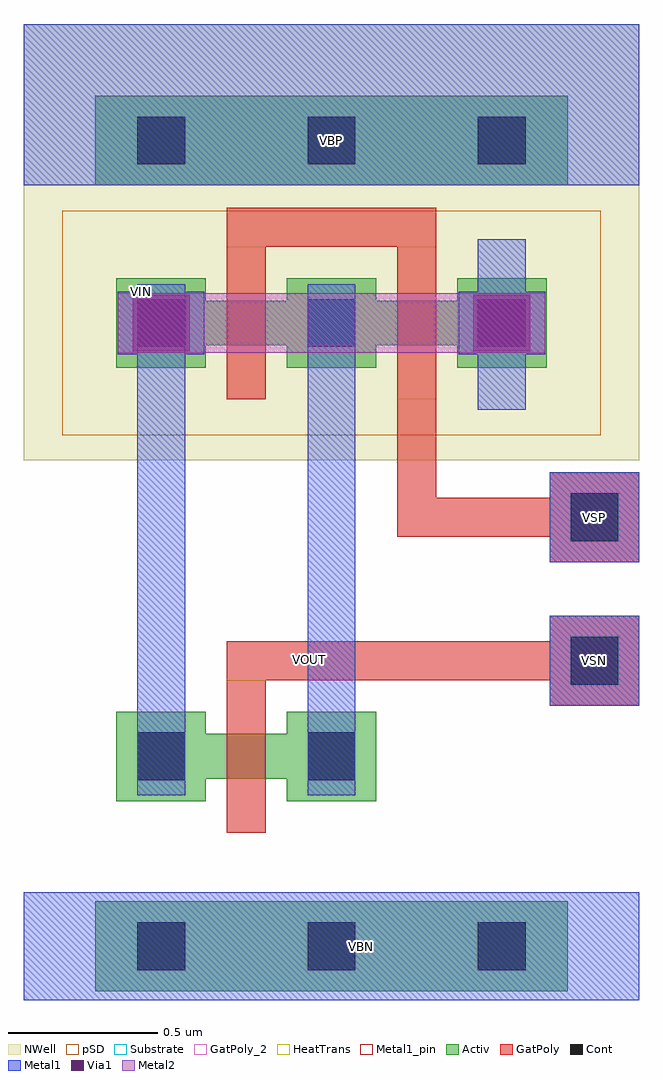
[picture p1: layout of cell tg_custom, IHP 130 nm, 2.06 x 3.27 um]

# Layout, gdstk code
import gdstk
lib = gdstk.Library(unit=1e-6, precision=5e-09)
def R(c, l, rs):  # rectangles x0, y0, x1, y1
    for r in rs: c.add(gdstk.rectangle(r[:2], r[2:], *l))
def A(c, l, x, y, w, h, nx, ny, dx, dy):  # array of equal rectangles
    R(c, l, [(x+i*dx, y+j*dy, x+i*dx+w, y+j*dy+h) for i in range(nx) for j in range(ny)])
Activ = (1, 0)
GatPoly = (5, 0)
GatPoly_2 = (5, 2)
Cont = (6, 0)
Metal1 = (8, 0)
Metal1_pin = (8, 2)
Metal2 = (10, 0)
pSD = (14, 0)
Via1 = (19, 0)
NWell = (31, 0)
Substrate = (40, 0)
HeatTrans = (51, 0)

pmos_1_16 = lib.new_cell('pmos$1$16')
A(pmos_1_16, Activ, 0, 0, 0.3, 0.3, 3, 1, 0.57, 0)
R(pmos_1_16, Activ, [(0,0.075,1.44,0.225)])
R(pmos_1_16, GatPoly, [(0.37,-0.105,0.5,0.405), (0.37,-0.105,0.5,0.405), (0.94,-0.105,1.07,0.405)])
A(pmos_1_16, Cont, 0.07, 0.07, 0.16, 0.16, 3, 1, 0.57, 0)
R(pmos_1_16, Metal1, [(0.07,0.02,0.23,0.28), (0.07,0.02,0.23,0.28), (0.64,0.02,0.8,0.28), (0.64,0.02,0.8,0.28), (1.21,0.02,1.37,0.28)])
R(pmos_1_16, pSD, [(-0.18,-0.225,1.62,0.525)])
R(pmos_1_16, NWell, [(-0.31,-0.31,1.75,0.61)])
R(pmos_1_16, Substrate, [(1.14,0,1.44,0.3)])
R(pmos_1_16, HeatTrans, [(0.37,-0.105,0.5,0.405), (0.94,-0.105,1.07,0.405)])
pmos_1_16.add(gdstk.Label('pmos', (0.435,0.15), layer=63, texttype=0))
pmos_1_16.add(gdstk.Label('pmos', (0.435,0.15), layer=51, texttype=0))
pmos_1_16.add(gdstk.Label('pmos', (1.005,0.15), layer=51, texttype=0))

pmos_8 = lib.new_cell('pmos$8')
A(pmos_8, Activ, 0, 0, 0.3, 0.3, 3, 1, 0.57, 0)
R(pmos_8, Activ, [(0,0.075,1.44,0.225)])
R(pmos_8, GatPoly, [(0.37,-0.105,0.5,0.405), (0.37,-0.105,0.5,0.405), (0.94,-0.105,1.07,0.405)])
A(pmos_8, Cont, 0.07, 0.07, 0.16, 0.16, 3, 1, 0.57, 0)
R(pmos_8, Metal1, [(0.07,0.02,0.23,0.28), (0.07,0.02,0.23,0.28), (0.64,0.02,0.8,0.28), (0.64,0.02,0.8,0.28), (1.21,0.02,1.37,0.28)])
R(pmos_8, pSD, [(-0.18,-0.225,1.62,0.525)])
R(pmos_8, NWell, [(-0.31,-0.31,1.75,0.61)])
R(pmos_8, Substrate, [(1.14,0,1.44,0.3)])
R(pmos_8, HeatTrans, [(0.37,-0.105,0.5,0.405), (0.94,-0.105,1.07,0.405)])
pmos_8.add(gdstk.Label('pmos', (0.435,0.15), layer=63, texttype=0))
pmos_8.add(gdstk.Label('pmos', (0.435,0.15), layer=51, texttype=0))
pmos_8.add(gdstk.Label('pmos', (1.005,0.15), layer=51, texttype=0))

pmos_1_3_4 = lib.new_cell('pmos$1$3$4')
A(pmos_1_3_4, Activ, 0, 0, 0.3, 0.3, 3, 1, 0.57, 0)
R(pmos_1_3_4, Activ, [(0,0.075,1.44,0.225)])
R(pmos_1_3_4, GatPoly, [(0.37,-0.105,0.5,0.405), (0.37,-0.105,0.5,0.405), (0.94,-0.105,1.07,0.405)])
A(pmos_1_3_4, Cont, 0.07, 0.07, 0.16, 0.16, 3, 1, 0.57, 0)
R(pmos_1_3_4, Metal1, [(0.07,0.02,0.23,0.28), (0.07,0.02,0.23,0.28), (0.64,0.02,0.8,0.28), (0.64,0.02,0.8,0.28), (1.21,0.02,1.37,0.28)])
R(pmos_1_3_4, pSD, [(-0.18,-0.225,1.62,0.525)])
R(pmos_1_3_4, NWell, [(-0.31,-0.31,1.75,0.61)])
R(pmos_1_3_4, Substrate, [(1.14,0,1.44,0.3)])
R(pmos_1_3_4, HeatTrans, [(0.37,-0.105,0.5,0.405), (0.94,-0.105,1.07,0.405)])
pmos_1_3_4.add(gdstk.Label('pmos', (0.435,0.15), layer=63, texttype=0))
pmos_1_3_4.add(gdstk.Label('pmos', (0.435,0.15), layer=51, texttype=0))
pmos_1_3_4.add(gdstk.Label('pmos', (1.005,0.15), layer=51, texttype=0))

pmos_4_1 = lib.new_cell('pmos$4$1')
A(pmos_4_1, Activ, 0, 0, 0.3, 0.3, 3, 1, 0.57, 0)
R(pmos_4_1, Activ, [(0,0.075,1.44,0.225)])
R(pmos_4_1, GatPoly, [(0.37,-0.105,0.5,0.405), (0.37,-0.105,0.5,0.405), (0.94,-0.105,1.07,0.405)])
A(pmos_4_1, Cont, 0.07, 0.07, 0.16, 0.16, 3, 1, 0.57, 0)
R(pmos_4_1, Metal1, [(0.07,0.02,0.23,0.28), (0.07,0.02,0.23,0.28), (0.64,0.02,0.8,0.28), (0.64,0.02,0.8,0.28), (1.21,0.02,1.37,0.28)])
R(pmos_4_1, pSD, [(-0.18,-0.225,1.62,0.525)])
R(pmos_4_1, NWell, [(-0.31,-0.31,1.75,0.61)])
R(pmos_4_1, Substrate, [(1.14,0,1.44,0.3)])
R(pmos_4_1, HeatTrans, [(0.37,-0.105,0.5,0.405), (0.94,-0.105,1.07,0.405)])
pmos_4_1.add(gdstk.Label('pmos', (0.435,0.15), layer=63, texttype=0))
pmos_4_1.add(gdstk.Label('pmos', (0.435,0.15), layer=51, texttype=0))
pmos_4_1.add(gdstk.Label('pmos', (1.005,0.15), layer=51, texttype=0))

pmos_1_11 = lib.new_cell('pmos$1$11')
A(pmos_1_11, Activ, 0, 0, 0.3, 0.3, 3, 1, 0.57, 0)
R(pmos_1_11, Activ, [(0,0.075,1.44,0.225)])
R(pmos_1_11, GatPoly, [(0.37,-0.105,0.5,0.405), (0.37,-0.105,0.5,0.405), (0.94,-0.105,1.07,0.405)])
A(pmos_1_11, Cont, 0.07, 0.07, 0.16, 0.16, 3, 1, 0.57, 0)
R(pmos_1_11, Metal1, [(0.07,0.02,0.23,0.28), (0.07,0.02,0.23,0.28), (0.64,0.02,0.8,0.28), (0.64,0.02,0.8,0.28), (1.21,0.02,1.37,0.28)])
R(pmos_1_11, pSD, [(-0.18,-0.225,1.62,0.525)])
R(pmos_1_11, NWell, [(-0.31,-0.31,1.75,0.61)])
R(pmos_1_11, Substrate, [(1.14,0,1.44,0.3)])
R(pmos_1_11, HeatTrans, [(0.37,-0.105,0.5,0.405), (0.94,-0.105,1.07,0.405)])
pmos_1_11.add(gdstk.Label('pmos', (0.435,0.15), layer=63, texttype=0))
pmos_1_11.add(gdstk.Label('pmos', (0.435,0.15), layer=51, texttype=0))
pmos_1_11.add(gdstk.Label('pmos', (1.005,0.15), layer=51, texttype=0))

pmos_7 = lib.new_cell('pmos$7')
A(pmos_7, Activ, 0, 0, 0.3, 0.3, 3, 1, 0.57, 0)
R(pmos_7, Activ, [(0,0.075,1.44,0.225)])
R(pmos_7, GatPoly, [(0.37,-0.105,0.5,0.405), (0.37,-0.105,0.5,0.405), (0.94,-0.105,1.07,0.405)])
A(pmos_7, Cont, 0.07, 0.07, 0.16, 0.16, 3, 1, 0.57, 0)
R(pmos_7, Metal1, [(0.07,0.02,0.23,0.28), (0.07,0.02,0.23,0.28), (0.64,0.02,0.8,0.28), (0.64,0.02,0.8,0.28), (1.21,0.02,1.37,0.28)])
R(pmos_7, pSD, [(-0.18,-0.225,1.62,0.525)])
R(pmos_7, NWell, [(-0.31,-0.31,1.75,0.61)])
R(pmos_7, Substrate, [(1.14,0,1.44,0.3)])
R(pmos_7, HeatTrans, [(0.37,-0.105,0.5,0.405), (0.94,-0.105,1.07,0.405)])
pmos_7.add(gdstk.Label('pmos', (0.435,0.15), layer=63, texttype=0))
pmos_7.add(gdstk.Label('pmos', (0.435,0.15), layer=51, texttype=0))
pmos_7.add(gdstk.Label('pmos', (1.005,0.15), layer=51, texttype=0))

pmos_1_3 = lib.new_cell('pmos$1$3')
A(pmos_1_3, Activ, 0, 0, 0.3, 0.3, 3, 1, 0.57, 0)
R(pmos_1_3, Activ, [(0,0.075,1.44,0.225)])
R(pmos_1_3, GatPoly, [(0.37,-0.105,0.5,0.405), (0.37,-0.105,0.5,0.405), (0.94,-0.105,1.07,0.405)])
A(pmos_1_3, Cont, 0.07, 0.07, 0.16, 0.16, 3, 1, 0.57, 0)
R(pmos_1_3, Metal1, [(0.07,0.02,0.23,0.28), (0.07,0.02,0.23,0.28), (0.64,0.02,0.8,0.28), (0.64,0.02,0.8,0.28), (1.21,0.02,1.37,0.28)])
R(pmos_1_3, pSD, [(-0.18,-0.225,1.62,0.525)])
R(pmos_1_3, NWell, [(-0.31,-0.31,1.75,0.61)])
R(pmos_1_3, Substrate, [(1.14,0,1.44,0.3)])
R(pmos_1_3, HeatTrans, [(0.37,-0.105,0.5,0.405), (0.94,-0.105,1.07,0.405)])
pmos_1_3.add(gdstk.Label('pmos', (0.435,0.15), layer=63, texttype=0))
pmos_1_3.add(gdstk.Label('pmos', (0.435,0.15), layer=51, texttype=0))
pmos_1_3.add(gdstk.Label('pmos', (1.005,0.15), layer=51, texttype=0))

pmos_4 = lib.new_cell('pmos$4')
A(pmos_4, Activ, 0, 0, 0.3, 0.3, 3, 1, 0.57, 0)
R(pmos_4, Activ, [(0,0.075,1.44,0.225)])
R(pmos_4, GatPoly, [(0.37,-0.105,0.5,0.405), (0.37,-0.105,0.5,0.405), (0.94,-0.105,1.07,0.405)])
A(pmos_4, Cont, 0.07, 0.07, 0.16, 0.16, 3, 1, 0.57, 0)
R(pmos_4, Metal1, [(0.07,0.02,0.23,0.28), (0.07,0.02,0.23,0.28), (0.64,0.02,0.8,0.28), (0.64,0.02,0.8,0.28), (1.21,0.02,1.37,0.28)])
R(pmos_4, pSD, [(-0.18,-0.225,1.62,0.525)])
R(pmos_4, NWell, [(-0.31,-0.31,1.75,0.61)])
R(pmos_4, Substrate, [(1.14,0,1.44,0.3)])
R(pmos_4, HeatTrans, [(0.37,-0.105,0.5,0.405), (0.94,-0.105,1.07,0.405)])
pmos_4.add(gdstk.Label('pmos', (0.435,0.15), layer=63, texttype=0))
pmos_4.add(gdstk.Label('pmos', (0.435,0.15), layer=51, texttype=0))
pmos_4.add(gdstk.Label('pmos', (1.005,0.15), layer=51, texttype=0))

pmos_1 = lib.new_cell('pmos$1')
A(pmos_1, Activ, 0, 0, 0.3, 0.3, 3, 1, 0.57, 0)
R(pmos_1, Activ, [(0,0.075,1.44,0.225)])
R(pmos_1, GatPoly, [(0.37,-0.105,0.5,0.405), (0.37,-0.105,0.5,0.405), (0.94,-0.105,1.07,0.405)])
A(pmos_1, Cont, 0.07, 0.07, 0.16, 0.16, 3, 1, 0.57, 0)
R(pmos_1, Metal1, [(0.07,0.02,0.23,0.28), (0.07,0.02,0.23,0.28), (0.64,0.02,0.8,0.28), (0.64,0.02,0.8,0.28), (1.21,0.02,1.37,0.28)])
R(pmos_1, pSD, [(-0.18,-0.225,1.62,0.525)])
R(pmos_1, NWell, [(-0.31,-0.31,1.75,0.61)])
R(pmos_1, Substrate, [(1.14,0,1.44,0.3)])
R(pmos_1, HeatTrans, [(0.37,-0.105,0.5,0.405), (0.94,-0.105,1.07,0.405)])
pmos_1.add(gdstk.Label('pmos', (0.435,0.15), layer=63, texttype=0))
pmos_1.add(gdstk.Label('pmos', (0.435,0.15), layer=51, texttype=0))
pmos_1.add(gdstk.Label('pmos', (1.005,0.15), layer=51, texttype=0))

pmos = lib.new_cell('pmos')
A(pmos, Activ, 0, 0, 0.3, 0.3, 3, 1, 0.57, 0)
R(pmos, Activ, [(0,0.075,1.44,0.225)])
R(pmos, GatPoly, [(0.37,-0.105,0.5,0.405), (0.37,-0.105,0.5,0.405), (0.94,-0.105,1.07,0.405)])
A(pmos, Cont, 0.07, 0.07, 0.16, 0.16, 3, 1, 0.57, 0)
R(pmos, Metal1, [(0.07,0.02,0.23,0.28), (0.07,0.02,0.23,0.28), (0.64,0.02,0.8,0.28), (0.64,0.02,0.8,0.28), (1.21,0.02,1.37,0.28)])
R(pmos, pSD, [(-0.18,-0.225,1.62,0.525)])
R(pmos, NWell, [(-0.31,-0.31,1.75,0.61)])
R(pmos, Substrate, [(1.14,0,1.44,0.3)])
R(pmos, HeatTrans, [(0.37,-0.105,0.5,0.405), (0.94,-0.105,1.07,0.405)])
pmos.add(gdstk.Label('pmos', (0.435,0.15), layer=63, texttype=0))
pmos.add(gdstk.Label('pmos', (0.435,0.15), layer=51, texttype=0))
pmos.add(gdstk.Label('pmos', (1.005,0.15), layer=51, texttype=0))

nmos_1_10 = lib.new_cell('nmos$1$10')
R(nmos_1_10, Activ, [(0,0,0.3,0.3), (0.57,0,0.87,0.3), (0,0.075,0.87,0.225)])
R(nmos_1_10, GatPoly, [(0.37,-0.105,0.5,0.405)])
R(nmos_1_10, GatPoly_2, [(0.37,-0.105,0.5,0.405)])
R(nmos_1_10, Cont, [(0.07,0.07,0.23,0.23), (0.64,0.07,0.8,0.23)])
R(nmos_1_10, Metal1, [(0.07,0.02,0.23,0.28), (0.64,0.02,0.8,0.28)])
R(nmos_1_10, Metal1_pin, [(0.07,0.02,0.23,0.28), (0.64,0.02,0.8,0.28)])
R(nmos_1_10, HeatTrans, [(0.37,-0.105,0.5,0.405)])
nmos_1_10.add(gdstk.Label('nmos', (0.435,0.15), layer=63, texttype=0))
nmos_1_10.add(gdstk.Label('nmos', (0.435,0.15), layer=51, texttype=0))

nmos_16 = lib.new_cell('nmos$16')
R(nmos_16, Activ, [(0,0,0.3,0.3), (0.57,0,0.87,0.3), (0,0.075,0.87,0.225)])
R(nmos_16, GatPoly, [(0.37,-0.105,0.5,0.405)])
R(nmos_16, GatPoly_2, [(0.37,-0.105,0.5,0.405)])
R(nmos_16, Cont, [(0.07,0.07,0.23,0.23), (0.64,0.07,0.8,0.23)])
R(nmos_16, Metal1, [(0.07,0.02,0.23,0.28), (0.64,0.02,0.8,0.28)])
R(nmos_16, Metal1_pin, [(0.07,0.02,0.23,0.28), (0.64,0.02,0.8,0.28)])
R(nmos_16, HeatTrans, [(0.37,-0.105,0.5,0.405)])
nmos_16.add(gdstk.Label('nmos', (0.435,0.15), layer=63, texttype=0))
nmos_16.add(gdstk.Label('nmos', (0.435,0.15), layer=51, texttype=0))

nmos_1_2_2 = lib.new_cell('nmos$1$2$2')
R(nmos_1_2_2, Activ, [(0,0,0.3,0.3), (0.57,0,0.87,0.3), (0,0.075,0.87,0.225)])
R(nmos_1_2_2, GatPoly, [(0.37,-0.105,0.5,0.405)])
R(nmos_1_2_2, GatPoly_2, [(0.37,-0.105,0.5,0.405)])
R(nmos_1_2_2, Cont, [(0.07,0.07,0.23,0.23), (0.64,0.07,0.8,0.23)])
R(nmos_1_2_2, Metal1, [(0.07,0.02,0.23,0.28), (0.64,0.02,0.8,0.28)])
R(nmos_1_2_2, Metal1_pin, [(0.07,0.02,0.23,0.28), (0.64,0.02,0.8,0.28)])
R(nmos_1_2_2, HeatTrans, [(0.37,-0.105,0.5,0.405)])
nmos_1_2_2.add(gdstk.Label('nmos', (0.435,0.15), layer=63, texttype=0))
nmos_1_2_2.add(gdstk.Label('nmos', (0.435,0.15), layer=51, texttype=0))

nmos_5_4 = lib.new_cell('nmos$5$4')
R(nmos_5_4, Activ, [(0,0,0.3,0.3), (0.57,0,0.87,0.3), (0,0.075,0.87,0.225)])
R(nmos_5_4, GatPoly, [(0.37,-0.105,0.5,0.405)])
R(nmos_5_4, GatPoly_2, [(0.37,-0.105,0.5,0.405)])
R(nmos_5_4, Cont, [(0.07,0.07,0.23,0.23), (0.64,0.07,0.8,0.23)])
R(nmos_5_4, Metal1, [(0.07,0.02,0.23,0.28), (0.64,0.02,0.8,0.28)])
R(nmos_5_4, Metal1_pin, [(0.07,0.02,0.23,0.28), (0.64,0.02,0.8,0.28)])
R(nmos_5_4, HeatTrans, [(0.37,-0.105,0.5,0.405)])
nmos_5_4.add(gdstk.Label('nmos', (0.435,0.15), layer=63, texttype=0))
nmos_5_4.add(gdstk.Label('nmos', (0.435,0.15), layer=51, texttype=0))

nmos_1_5 = lib.new_cell('nmos$1$5')
R(nmos_1_5, Activ, [(0,0,0.3,0.3), (0.57,0,0.87,0.3), (0,0.075,0.87,0.225)])
R(nmos_1_5, GatPoly, [(0.37,-0.105,0.5,0.405)])
R(nmos_1_5, GatPoly_2, [(0.37,-0.105,0.5,0.405)])
R(nmos_1_5, Cont, [(0.07,0.07,0.23,0.23), (0.64,0.07,0.8,0.23)])
R(nmos_1_5, Metal1, [(0.07,0.02,0.23,0.28), (0.64,0.02,0.8,0.28)])
R(nmos_1_5, Metal1_pin, [(0.07,0.02,0.23,0.28), (0.64,0.02,0.8,0.28)])
R(nmos_1_5, HeatTrans, [(0.37,-0.105,0.5,0.405)])
nmos_1_5.add(gdstk.Label('nmos', (0.435,0.15), layer=63, texttype=0))
nmos_1_5.add(gdstk.Label('nmos', (0.435,0.15), layer=51, texttype=0))

nmos_11 = lib.new_cell('nmos$11')
R(nmos_11, Activ, [(0,0,0.3,0.3), (0.57,0,0.87,0.3), (0,0.075,0.87,0.225)])
R(nmos_11, GatPoly, [(0.37,-0.105,0.5,0.405)])
R(nmos_11, GatPoly_2, [(0.37,-0.105,0.5,0.405)])
R(nmos_11, Cont, [(0.07,0.07,0.23,0.23), (0.64,0.07,0.8,0.23)])
R(nmos_11, Metal1, [(0.07,0.02,0.23,0.28), (0.64,0.02,0.8,0.28)])
R(nmos_11, Metal1_pin, [(0.07,0.02,0.23,0.28), (0.64,0.02,0.8,0.28)])
R(nmos_11, HeatTrans, [(0.37,-0.105,0.5,0.405)])
nmos_11.add(gdstk.Label('nmos', (0.435,0.15), layer=63, texttype=0))
nmos_11.add(gdstk.Label('nmos', (0.435,0.15), layer=51, texttype=0))

nmos_1_2 = lib.new_cell('nmos$1$2')
R(nmos_1_2, Activ, [(0,0,0.3,0.3), (0.57,0,0.87,0.3), (0,0.075,0.87,0.225)])
R(nmos_1_2, GatPoly, [(0.37,-0.105,0.5,0.405)])
R(nmos_1_2, GatPoly_2, [(0.37,-0.105,0.5,0.405)])
R(nmos_1_2, Cont, [(0.07,0.07,0.23,0.23), (0.64,0.07,0.8,0.23)])
R(nmos_1_2, Metal1, [(0.07,0.02,0.23,0.28), (0.64,0.02,0.8,0.28)])
R(nmos_1_2, Metal1_pin, [(0.07,0.02,0.23,0.28), (0.64,0.02,0.8,0.28)])
R(nmos_1_2, HeatTrans, [(0.37,-0.105,0.5,0.405)])
nmos_1_2.add(gdstk.Label('nmos', (0.435,0.15), layer=63, texttype=0))
nmos_1_2.add(gdstk.Label('nmos', (0.435,0.15), layer=51, texttype=0))

nmos_5 = lib.new_cell('nmos$5')
R(nmos_5, Activ, [(0,0,0.3,0.3), (0.57,0,0.87,0.3), (0,0.075,0.87,0.225)])
R(nmos_5, GatPoly, [(0.37,-0.105,0.5,0.405)])
R(nmos_5, GatPoly_2, [(0.37,-0.105,0.5,0.405)])
R(nmos_5, Cont, [(0.07,0.07,0.23,0.23), (0.64,0.07,0.8,0.23)])
R(nmos_5, Metal1, [(0.07,0.02,0.23,0.28), (0.64,0.02,0.8,0.28)])
R(nmos_5, Metal1_pin, [(0.07,0.02,0.23,0.28), (0.64,0.02,0.8,0.28)])
R(nmos_5, HeatTrans, [(0.37,-0.105,0.5,0.405)])
nmos_5.add(gdstk.Label('nmos', (0.435,0.15), layer=63, texttype=0))
nmos_5.add(gdstk.Label('nmos', (0.435,0.15), layer=51, texttype=0))

nmos_1 = lib.new_cell('nmos$1')
R(nmos_1, Activ, [(0,0,0.3,0.3), (0.57,0,0.87,0.3), (0,0.075,0.87,0.225)])
R(nmos_1, GatPoly, [(0.37,-0.105,0.5,0.405)])
R(nmos_1, GatPoly_2, [(0.37,-0.105,0.5,0.405)])
R(nmos_1, Cont, [(0.07,0.07,0.23,0.23), (0.64,0.07,0.8,0.23)])
R(nmos_1, Metal1, [(0.07,0.02,0.23,0.28), (0.64,0.02,0.8,0.28)])
R(nmos_1, Metal1_pin, [(0.07,0.02,0.23,0.28), (0.64,0.02,0.8,0.28)])
R(nmos_1, HeatTrans, [(0.37,-0.105,0.5,0.405)])
nmos_1.add(gdstk.Label('nmos', (0.435,0.15), layer=63, texttype=0))
nmos_1.add(gdstk.Label('nmos', (0.435,0.15), layer=51, texttype=0))

nmos = lib.new_cell('nmos')
R(nmos, Activ, [(0,0,0.3,0.3), (0.57,0,0.87,0.3), (0,0.075,0.87,0.225)])
R(nmos, GatPoly, [(0.37,-0.105,0.5,0.405)])
R(nmos, GatPoly_2, [(0.37,-0.105,0.5,0.405)])
R(nmos, Cont, [(0.07,0.07,0.23,0.23), (0.64,0.07,0.8,0.23)])
R(nmos, Metal1, [(0.07,0.02,0.23,0.28), (0.64,0.02,0.8,0.28)])
R(nmos, Metal1_pin, [(0.07,0.02,0.23,0.28), (0.64,0.02,0.8,0.28)])
R(nmos, HeatTrans, [(0.37,-0.105,0.5,0.405)])
nmos.add(gdstk.Label('nmos', (0.435,0.15), layer=63, texttype=0))
nmos.add(gdstk.Label('nmos', (0.435,0.15), layer=51, texttype=0))

tg_custom = lib.new_cell('tg_custom')
R(tg_custom, Activ, [(0.445,0.87,2.025,1.17), (0.445,0.87,2.025,1.17), (0.445,0.87,2.025,1.17), (0.445,0.87,2.025,1.17), (0.445,0.87,2.025,1.17), (0.445,0.87,2.025,1.17), (0.445,0.87,2.025,1.17), (0.445,0.87,2.025,1.17), (0.445,0.87,2.025,1.17), (0.445,0.87,2.025,1.17), (0.445,3.565,2.025,3.865), (0.445,3.565,2.025,3.865), (0.445,3.565,2.025,3.865), (0.445,3.565,2.025,3.865), (0.445,3.565,2.025,3.865), (0.445,3.565,2.025,3.865), (0.445,3.565,2.025,3.865), (0.445,3.565,2.025,3.865), (0.445,3.565,2.025,3.865), (0.445,3.565,2.025,3.865)])
R(tg_custom, GatPoly, [(1.965,1.825,2.265,2.125), (1.965,1.825,2.265,2.125), (1.965,1.825,2.265,2.125), (1.965,1.825,2.265,2.125), (1.965,1.825,2.265,2.125), (1.965,1.825,2.265,2.125), (1.965,1.825,2.265,2.125), (1.965,1.825,2.265,2.125), (1.965,1.825,2.265,2.125), (1.965,1.825,2.265,2.125), (0.885,1.91,1.965,2.04), (0.885,1.91,1.965,2.04), (0.885,1.91,1.965,2.04), (0.885,1.91,1.965,2.04), (0.885,1.91,1.965,2.04), (0.885,1.91,1.965,2.04), (0.885,1.91,1.965,2.04), (0.885,1.91,1.965,2.04), (0.885,1.91,1.965,2.04), (0.885,1.91,1.965,2.04), (1.965,2.305,2.265,2.605), (1.965,2.305,2.265,2.605), (1.965,2.305,2.265,2.605), (1.965,2.305,2.265,2.605), (1.965,2.305,2.265,2.605), (1.965,2.305,2.265,2.605), (1.965,2.305,2.265,2.605), (1.965,2.305,2.265,2.605), (1.965,2.305,2.265,2.605), (1.965,2.305,2.265,2.605), (1.455,2.39,1.965,2.52), (1.455,2.39,1.965,2.52), (1.455,2.39,1.965,2.52), (1.455,2.39,1.965,2.52), (1.455,2.39,1.965,2.52), (1.455,2.39,1.965,2.52), (1.455,2.39,1.965,2.52), (1.455,2.39,1.965,2.52), (1.455,2.39,1.965,2.52), (1.455,2.39,1.965,2.52), (1.455,2.39,1.585,2.85), (1.455,2.39,1.585,2.85), (1.455,2.39,1.585,2.85), (1.455,2.39,1.585,2.85), (1.455,2.39,1.585,2.85), (1.455,2.39,1.585,2.85), (1.455,2.39,1.585,2.85), (1.455,2.39,1.585,2.85), (1.455,2.39,1.585,2.85), (1.455,2.39,1.585,2.85), (0.885,3.36,1.585,3.49), (0.885,3.36,1.585,3.49), (0.885,3.36,1.585,3.49), (0.885,3.36,1.585,3.49), (0.885,3.36,1.585,3.49), (0.885,3.36,1.585,3.49), (0.885,3.36,1.585,3.49), (0.885,3.36,1.585,3.49), (0.885,3.36,1.585,3.49), (0.885,3.36,1.585,3.49)])
R(tg_custom, Cont, [(0.585,0.94,0.745,1.1), (0.585,0.94,0.745,1.1), (0.585,0.94,0.745,1.1), (0.585,0.94,0.745,1.1), (0.585,0.94,0.745,1.1), (0.585,0.94,0.745,1.1), (0.585,0.94,0.745,1.1), (0.585,0.94,0.745,1.1), (0.585,0.94,0.745,1.1), (0.585,0.94,0.745,1.1), (1.155,0.94,1.315,1.1), (1.155,0.94,1.315,1.1), (1.155,0.94,1.315,1.1), (1.155,0.94,1.315,1.1), (1.155,0.94,1.315,1.1), (1.155,0.94,1.315,1.1), (1.155,0.94,1.315,1.1), (1.155,0.94,1.315,1.1), (1.155,0.94,1.315,1.1), (1.155,0.94,1.315,1.1), (1.725,0.94,1.885,1.1), (1.725,0.94,1.885,1.1), (1.725,0.94,1.885,1.1), (1.725,0.94,1.885,1.1), (1.725,0.94,1.885,1.1), (1.725,0.94,1.885,1.1), (1.725,0.94,1.885,1.1), (1.725,0.94,1.885,1.1), (1.725,0.94,1.885,1.1), (1.725,0.94,1.885,1.1), (2.035,1.895,2.195,2.055), (2.035,1.895,2.195,2.055), (2.035,1.895,2.195,2.055), (2.035,1.895,2.195,2.055), (2.035,1.895,2.195,2.055), (2.035,1.895,2.195,2.055), (2.035,1.895,2.195,2.055), (2.035,1.895,2.195,2.055), (2.035,1.895,2.195,2.055), (2.035,1.895,2.195,2.055), (2.035,2.375,2.195,2.535), (2.035,2.375,2.195,2.535), (2.035,2.375,2.195,2.535), (2.035,2.375,2.195,2.535), (2.035,2.375,2.195,2.535), (2.035,2.375,2.195,2.535), (2.035,2.375,2.195,2.535), (2.035,2.375,2.195,2.535), (2.035,2.375,2.195,2.535), (0.585,3.635,0.745,3.795), (0.585,3.635,0.745,3.795), (0.585,3.635,0.745,3.795), (0.585,3.635,0.745,3.795), (0.585,3.635,0.745,3.795), (0.585,3.635,0.745,3.795), (0.585,3.635,0.745,3.795), (0.585,3.635,0.745,3.795), (0.585,3.635,0.745,3.795), (0.585,3.635,0.745,3.795), (1.155,3.635,1.315,3.795), (1.155,3.635,1.315,3.795), (1.155,3.635,1.315,3.795), (1.155,3.635,1.315,3.795), (1.155,3.635,1.315,3.795), (1.155,3.635,1.315,3.795), (1.155,3.635,1.315,3.795), (1.155,3.635,1.315,3.795), (1.155,3.635,1.315,3.795), (1.155,3.635,1.315,3.795), (1.725,3.635,1.885,3.795), (1.725,3.635,1.885,3.795), (1.725,3.635,1.885,3.795), (1.725,3.635,1.885,3.795), (1.725,3.635,1.885,3.795), (1.725,3.635,1.885,3.795), (1.725,3.635,1.885,3.795), (1.725,3.635,1.885,3.795), (1.725,3.635,1.885,3.795), (1.725,3.635,1.885,3.795)])
R(tg_custom, Metal1, [(0.205,0.84,2.265,1.2), (0.205,0.84,2.265,1.2), (0.205,0.84,2.265,1.2), (0.205,0.84,2.265,1.2), (0.205,0.84,2.265,1.2), (0.205,0.84,2.265,1.2), (0.205,0.84,2.265,1.2), (0.205,0.84,2.265,1.2), (0.205,0.84,2.265,1.2), (0.205,0.84,2.265,1.2), (0.585,1.525,0.745,3.235), (0.585,1.525,0.745,3.235), (0.585,1.525,0.745,3.235), (0.585,1.525,0.745,3.235), (0.585,1.525,0.745,3.235), (0.585,1.525,0.745,3.235), (0.585,1.525,0.745,3.235), (0.585,1.525,0.745,3.235), (0.585,1.525,0.745,3.235), (0.585,1.525,0.745,3.235), (1.155,1.525,1.315,3.235), (1.155,1.525,1.315,3.235), (1.155,1.525,1.315,3.235), (1.155,1.525,1.315,3.235), (1.155,1.525,1.315,3.235), (1.155,1.525,1.315,3.235), (1.155,1.525,1.315,3.235), (1.155,1.525,1.315,3.235), (1.155,1.525,1.315,3.235), (1.155,1.525,1.315,3.235), (1.965,1.825,2.265,2.125), (1.965,1.825,2.265,2.125), (1.965,1.825,2.265,2.125), (1.965,1.825,2.265,2.125), (1.965,1.825,2.265,2.125), (1.965,1.825,2.265,2.125), (1.965,1.825,2.265,2.125), (1.965,1.825,2.265,2.125), (1.965,1.825,2.265,2.125), (1.965,1.825,2.265,2.125), (1.965,2.305,2.265,2.605), (1.965,2.305,2.265,2.605), (1.965,2.305,2.265,2.605), (1.965,2.305,2.265,2.605), (1.965,2.305,2.265,2.605), (1.965,2.305,2.265,2.605), (1.965,2.305,2.265,2.605), (1.965,2.305,2.265,2.605), (1.965,2.305,2.265,2.605), (1.965,2.305,2.265,2.605), (1.725,2.815,1.885,3.385), (1.725,2.815,1.885,3.385), (1.725,2.815,1.885,3.385), (1.725,2.815,1.885,3.385), (1.725,2.815,1.885,3.385), (1.725,2.815,1.885,3.385), (1.725,2.815,1.885,3.385), (1.725,2.815,1.885,3.385), (1.725,2.815,1.885,3.385), (1.725,2.815,1.885,3.385), (0.52,3,0.81,3.21), (0.52,3,0.81,3.21), (0.52,3,0.81,3.21), (0.52,3,0.81,3.21), (0.52,3,0.81,3.21), (0.52,3,0.81,3.21), (0.52,3,0.81,3.21), (0.52,3,0.81,3.21), (0.52,3,0.81,3.21), (0.52,3,0.81,3.21), (1.66,3,1.95,3.21), (1.66,3,1.95,3.21), (1.66,3,1.95,3.21), (1.66,3,1.95,3.21), (1.66,3,1.95,3.21), (1.66,3,1.95,3.21), (1.66,3,1.95,3.21), (1.66,3,1.95,3.21), (1.66,3,1.95,3.21), (1.66,3,1.95,3.21), (0.205,3.565,2.265,4.105), (0.205,3.565,2.265,4.105), (0.205,3.565,2.265,4.105), (0.205,3.565,2.265,4.105), (0.205,3.565,2.265,4.105), (0.205,3.565,2.265,4.105), (0.205,3.565,2.265,4.105), (0.205,3.565,2.265,4.105), (0.205,3.565,2.265,4.105), (0.205,3.565,2.265,4.105)])
R(tg_custom, Metal1_pin, [(0.205,0.84,2.265,1.2), (0.205,0.84,2.265,1.2), (0.205,0.84,2.265,1.2), (0.205,0.84,2.265,1.2), (0.205,0.84,2.265,1.2), (0.205,0.84,2.265,1.2), (0.205,0.84,2.265,1.2), (0.205,0.84,2.265,1.2), (0.205,0.84,2.265,1.2), (0.205,0.84,2.265,1.2), (0.585,1.525,0.745,3.235), (0.585,1.525,0.745,3.235), (0.585,1.525,0.745,3.235), (0.585,1.525,0.745,3.235), (0.585,1.525,0.745,3.235), (0.585,1.525,0.745,3.235), (0.585,1.525,0.745,3.235), (0.585,1.525,0.745,3.235), (0.585,1.525,0.745,3.235), (0.585,1.525,0.745,3.235), (1.155,1.525,1.315,3.235), (1.155,1.525,1.315,3.235), (1.155,1.525,1.315,3.235), (1.155,1.525,1.315,3.235), (1.155,1.525,1.315,3.235), (1.155,1.525,1.315,3.235), (1.155,1.525,1.315,3.235), (1.155,1.525,1.315,3.235), (1.155,1.525,1.315,3.235), (1.155,1.525,1.315,3.235), (1.965,1.825,2.265,2.125), (1.965,1.825,2.265,2.125), (1.965,1.825,2.265,2.125), (1.965,1.825,2.265,2.125), (1.965,1.825,2.265,2.125), (1.965,1.825,2.265,2.125), (1.965,1.825,2.265,2.125), (1.965,1.825,2.265,2.125), (1.965,1.825,2.265,2.125), (1.965,1.825,2.265,2.125), (1.965,2.305,2.265,2.605), (1.965,2.305,2.265,2.605), (1.965,2.305,2.265,2.605), (1.965,2.305,2.265,2.605), (1.965,2.305,2.265,2.605), (1.965,2.305,2.265,2.605), (1.965,2.305,2.265,2.605), (1.965,2.305,2.265,2.605), (1.965,2.305,2.265,2.605), (1.965,2.305,2.265,2.605), (0.205,3.565,2.265,4.105), (0.205,3.565,2.265,4.105), (0.205,3.565,2.265,4.105), (0.205,3.565,2.265,4.105), (0.205,3.565,2.265,4.105), (0.205,3.565,2.265,4.105), (0.205,3.565,2.265,4.105), (0.205,3.565,2.265,4.105), (0.205,3.565,2.265,4.105), (0.205,3.565,2.265,4.105)])
R(tg_custom, Metal2, [(0.52,3.005,0.81,3.205), (0.52,3.005,0.81,3.205), (0.52,3.005,0.81,3.205), (0.52,3.005,0.81,3.205), (0.52,3.005,0.81,3.205), (0.52,3.005,0.81,3.205), (0.52,3.005,0.81,3.205), (0.52,3.005,0.81,3.205), (0.52,3.005,0.81,3.205), (0.52,3.005,0.81,3.205), (0.52,3.005,1.95,3.205), (0.52,3.005,1.95,3.205), (0.52,3.005,1.95,3.205), (0.52,3.005,1.95,3.205), (0.52,3.005,1.95,3.205), (0.52,3.005,1.95,3.205), (0.52,3.005,1.95,3.205), (0.52,3.005,1.95,3.205), (0.52,3.005,1.95,3.205), (0.52,3.005,1.95,3.205), (1.66,3.005,1.95,3.205), (1.66,3.005,1.95,3.205), (1.66,3.005,1.95,3.205), (1.66,3.005,1.95,3.205), (1.66,3.005,1.95,3.205), (1.66,3.005,1.95,3.205), (1.66,3.005,1.95,3.205), (1.66,3.005,1.95,3.205), (1.66,3.005,1.95,3.205), (1.66,3.005,1.95,3.205)])
R(tg_custom, pSD, [(0.205,0.84,2.265,1.2), (0.205,0.84,2.265,1.2), (0.205,0.84,2.265,1.2), (0.205,0.84,2.265,1.2), (0.205,0.84,2.265,1.2), (0.205,0.84,2.265,1.2), (0.205,0.84,2.265,1.2), (0.205,0.84,2.265,1.2), (0.205,0.84,2.265,1.2), (0.205,0.84,2.265,1.2)])
R(tg_custom, Via1, [(0.57,3.01,0.76,3.2), (0.57,3.01,0.76,3.2), (0.57,3.01,0.76,3.2), (0.57,3.01,0.76,3.2), (0.57,3.01,0.76,3.2), (0.57,3.01,0.76,3.2), (0.57,3.01,0.76,3.2), (0.57,3.01,0.76,3.2), (0.57,3.01,0.76,3.2), (0.57,3.01,0.76,3.2), (1.71,3.01,1.9,3.2), (1.71,3.01,1.9,3.2), (1.71,3.01,1.9,3.2), (1.71,3.01,1.9,3.2), (1.71,3.01,1.9,3.2), (1.71,3.01,1.9,3.2), (1.71,3.01,1.9,3.2), (1.71,3.01,1.9,3.2), (1.71,3.01,1.9,3.2), (1.71,3.01,1.9,3.2)])
R(tg_custom, NWell, [(0.205,3.565,2.265,4.105), (0.205,3.565,2.265,4.105), (0.205,3.565,2.265,4.105), (0.205,3.565,2.265,4.105), (0.205,3.565,2.265,4.105), (0.205,3.565,2.265,4.105), (0.205,3.565,2.265,4.105), (0.205,3.565,2.265,4.105), (0.205,3.565,2.265,4.105), (0.205,3.565,2.265,4.105)])
tg_custom.add(gdstk.Reference(pmos_1_16, (0.515,2.955)))
tg_custom.add(gdstk.Reference(pmos_8, (0.515,2.955)))
tg_custom.add(gdstk.Reference(pmos_1_3_4, (0.515,2.955)))
tg_custom.add(gdstk.Reference(pmos_4_1, (0.515,2.955)))
tg_custom.add(gdstk.Reference(pmos_1_11, (0.515,2.955)))
tg_custom.add(gdstk.Reference(pmos_7, (0.515,2.955)))
tg_custom.add(gdstk.Reference(pmos_1_3, (0.515,2.955)))
tg_custom.add(gdstk.Reference(pmos_4, (0.515,2.955)))
tg_custom.add(gdstk.Reference(pmos_1, (0.515,2.955)))
tg_custom.add(gdstk.Reference(pmos, (0.515,2.955)))
tg_custom.add(gdstk.Reference(nmos_1_10, (0.515,1.505)))
tg_custom.add(gdstk.Reference(nmos_16, (0.515,1.505)))
tg_custom.add(gdstk.Reference(nmos_1_2_2, (0.515,1.505)))
tg_custom.add(gdstk.Reference(nmos_5_4, (0.515,1.505)))
tg_custom.add(gdstk.Reference(nmos_1_5, (0.515,1.505)))
tg_custom.add(gdstk.Reference(nmos_11, (0.515,1.505)))
tg_custom.add(gdstk.Reference(nmos_1_2, (0.515,1.505)))
tg_custom.add(gdstk.Reference(nmos_5, (0.515,1.505)))
tg_custom.add(gdstk.Reference(nmos_1, (0.515,1.505)))
tg_custom.add(gdstk.Reference(nmos, (0.515,1.505)))
tg_custom.add(gdstk.Label('VBP', (1.235,3.715), layer=8, texttype=25))
tg_custom.add(gdstk.Label('VSN', (2.115,1.975), layer=8, texttype=25))
tg_custom.add(gdstk.Label('VIN', (0.6,3.21), layer=8, texttype=25))
tg_custom.add(gdstk.Label('VSP', (2.115,2.455), layer=8, texttype=25))
tg_custom.add(gdstk.Label('VOUT', (1.16,1.98), layer=8, texttype=25))
tg_custom.add(gdstk.Label('VBN', (1.335,1.02), layer=8, texttype=25))
tg_custom.add(gdstk.Label('VBP', (1.235,3.715), layer=8, texttype=25))
tg_custom.add(gdstk.Label('VSN', (2.115,1.975), layer=8, texttype=25))
tg_custom.add(gdstk.Label('VIN', (0.6,3.21), layer=8, texttype=25))
tg_custom.add(gdstk.Label('VSP', (2.115,2.455), layer=8, texttype=25))
tg_custom.add(gdstk.Label('VOUT', (1.16,1.98), layer=8, texttype=25))
tg_custom.add(gdstk.Label('VBN', (1.335,1.02), layer=8, texttype=25))
tg_custom.add(gdstk.Label('VBP', (1.235,3.715), layer=8, texttype=25))
tg_custom.add(gdstk.Label('VSN', (2.115,1.975), layer=8, texttype=25))
tg_custom.add(gdstk.Label('VIN', (0.6,3.21), layer=8, texttype=25))
tg_custom.add(gdstk.Label('VSP', (2.115,2.455), layer=8, texttype=25))
tg_custom.add(gdstk.Label('VOUT', (1.16,1.98), layer=8, texttype=25))
tg_custom.add(gdstk.Label('VBN', (1.335,1.02), layer=8, texttype=25))
tg_custom.add(gdstk.Label('VBP', (1.235,3.715), layer=8, texttype=25))
tg_custom.add(gdstk.Label('VSN', (2.115,1.975), layer=8, texttype=25))
tg_custom.add(gdstk.Label('VIN', (0.6,3.21), layer=8, texttype=25))
tg_custom.add(gdstk.Label('VSP', (2.115,2.455), layer=8, texttype=25))
tg_custom.add(gdstk.Label('VOUT', (1.16,1.98), layer=8, texttype=25))
tg_custom.add(gdstk.Label('VBN', (1.335,1.02), layer=8, texttype=25))
tg_custom.add(gdstk.Label('VBP', (1.235,3.715), layer=8, texttype=25))
tg_custom.add(gdstk.Label('VSN', (2.115,1.975), layer=8, texttype=25))
tg_custom.add(gdstk.Label('VIN', (0.6,3.21), layer=8, texttype=25))
tg_custom.add(gdstk.Label('VSP', (2.115,2.455), layer=8, texttype=25))
tg_custom.add(gdstk.Label('VOUT', (1.16,1.98), layer=8, texttype=25))
tg_custom.add(gdstk.Label('VBN', (1.335,1.02), layer=8, texttype=25))
tg_custom.add(gdstk.Label('VBP', (1.235,3.715), layer=8, texttype=25))
tg_custom.add(gdstk.Label('VSN', (2.115,1.975), layer=8, texttype=25))
tg_custom.add(gdstk.Label('VIN', (0.6,3.21), layer=8, texttype=25))
tg_custom.add(gdstk.Label('VSP', (2.115,2.455), layer=8, texttype=25))
tg_custom.add(gdstk.Label('VOUT', (1.16,1.98), layer=8, texttype=25))
tg_custom.add(gdstk.Label('VBN', (1.335,1.02), layer=8, texttype=25))
tg_custom.add(gdstk.Label('VBP', (1.235,3.715), layer=8, texttype=25))
tg_custom.add(gdstk.Label('VSN', (2.115,1.975), layer=8, texttype=25))
tg_custom.add(gdstk.Label('VIN', (0.6,3.21), layer=8, texttype=25))
tg_custom.add(gdstk.Label('VSP', (2.115,2.455), layer=8, texttype=25))
tg_custom.add(gdstk.Label('VOUT', (1.16,1.98), layer=8, texttype=25))
tg_custom.add(gdstk.Label('VBN', (1.335,1.02), layer=8, texttype=25))
tg_custom.add(gdstk.Label('VBP', (1.235,3.715), layer=8, texttype=25))
tg_custom.add(gdstk.Label('VSN', (2.115,1.975), layer=8, texttype=25))
tg_custom.add(gdstk.Label('VIN', (0.6,3.21), layer=8, texttype=25))
tg_custom.add(gdstk.Label('VSP', (2.115,2.455), layer=8, texttype=25))
tg_custom.add(gdstk.Label('VOUT', (1.16,1.98), layer=8, texttype=25))
tg_custom.add(gdstk.Label('VBN', (1.335,1.02), layer=8, texttype=25))
tg_custom.add(gdstk.Label('VBP', (1.235,3.715), layer=8, texttype=25))
tg_custom.add(gdstk.Label('VSN', (2.115,1.975), layer=8, texttype=25))
tg_custom.add(gdstk.Label('VIN', (0.6,3.21), layer=8, texttype=25))
tg_custom.add(gdstk.Label('VSP', (2.115,2.455), layer=8, texttype=25))
tg_custom.add(gdstk.Label('VOUT', (1.16,1.98), layer=8, texttype=25))
tg_custom.add(gdstk.Label('VBN', (1.335,1.02), layer=8, texttype=25))
tg_custom.add(gdstk.Label('VBP', (1.235,3.715), layer=8, texttype=25))
tg_custom.add(gdstk.Label('VSN', (2.115,1.975), layer=8, texttype=25))
tg_custom.add(gdstk.Label('VIN', (0.6,3.21), layer=8, texttype=25))
tg_custom.add(gdstk.Label('VSP', (2.115,2.455), layer=8, texttype=25))
tg_custom.add(gdstk.Label('VOUT', (1.16,1.98), layer=8, texttype=25))
tg_custom.add(gdstk.Label('VBN', (1.335,1.02), layer=8, texttype=25))

lib.write_gds('tg_custom.gds')
